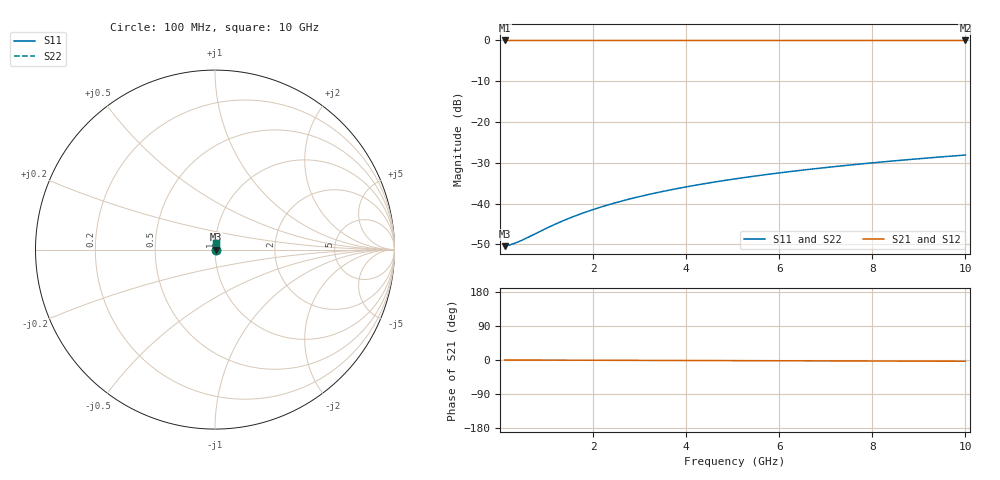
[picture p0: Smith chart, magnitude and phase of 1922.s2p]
# Hz S RI R 50.00
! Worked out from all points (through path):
!   100 points, 100 MHz to 10 GHz, reference 50 ohm
!   highest |S21| = -0.03 dB at 100 MHz (marker M1); lowest = 0.0 dB at 10 GHz (marker M2)
!   lowest |S11| = -50.4 dB at 100 MHz (marker M3), VSWR 1.01, Z = 50.3 + j0.0393 ohm
!   |S11| at or under -10 dB: start of sweep to end of sweep
!   |S22| runs from -50.4 to -28.1 dB; largest |S21 - S12| = 1e-14
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1e8  0.00298 0.00039  0.997 -0.000578  0.997 -0.000578  0.00298 0.00039
2e8  0.003 0.00078  0.997 -0.00116  0.997 -0.00116  0.003 0.00078
3e8  0.00301 0.00117  0.997 -0.00173  0.997 -0.00173  0.00301 0.00117
4e8  0.00303 0.00156  0.997 -0.00231  0.997 -0.00231  0.00303 0.00156
5e8  0.00304 0.00195  0.997 -0.00289  0.997 -0.00289  0.00304 0.00195
1e9  0.00309 0.0039  0.9969 -0.00578  0.9969 -0.00578  0.00309 0.0039
1.2e9  0.00311 0.00468  0.9969 -0.00693  0.9969 -0.00693  0.00311 0.00468
1.5e9  0.00315 0.00585  0.9968 -0.00867  0.9968 -0.00867  0.00315 0.00585
1.8e9  0.00318 0.00702  0.9968 -0.0104  0.9968 -0.0104  0.00318 0.00702
2.1e9  0.00322 0.00819  0.9968 -0.0121  0.9968 -0.0121  0.00322 0.00819
2.5e9  0.00327 0.00975  0.9967 -0.0144  0.9967 -0.0144  0.00327 0.00975
2.9e9  0.00333 0.0113  0.9966 -0.0168  0.9966 -0.0168  0.00333 0.0113
3.4e9  0.00342 0.0133  0.9966 -0.0196  0.9966 -0.0196  0.00342 0.0133
3.8e9  0.0035 0.0148  0.9965 -0.0219  0.9965 -0.0219  0.0035 0.0148
4.2e9  0.00358 0.0164  0.9964 -0.0243  0.9964 -0.0243  0.00358 0.0164
4.6e9  0.00367 0.0179  0.9963 -0.0266  0.9963 -0.0266  0.00367 0.0179
5.1e9  0.00379 0.0199  0.9962 -0.0295  0.9962 -0.0295  0.00379 0.0199
5.9e9  0.00401 0.023  0.9959 -0.0341  0.9959 -0.0341  0.00401 0.023
6.7e9  0.00425 0.0261  0.9957 -0.0387  0.9957 -0.0387  0.00425 0.0261
7.5e9  0.00453 0.0292  0.9954 -0.0433  0.9954 -0.0433  0.00453 0.0292
8.4e9  0.00487 0.0327  0.995 -0.0485  0.995 -0.0485  0.00487 0.0327
1e10  0.00557 0.0389  0.9942 -0.0577  0.9942 -0.0577  0.00557 0.0389
